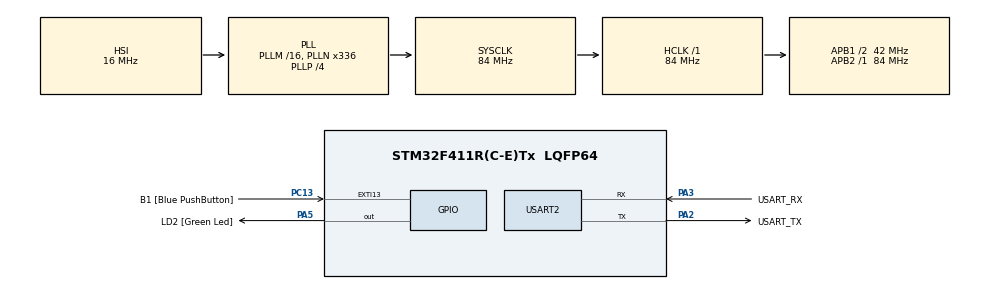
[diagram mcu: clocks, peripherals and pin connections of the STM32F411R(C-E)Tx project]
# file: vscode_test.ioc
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Mcu.Family=STM32F4
PC15-OSC32_OUT.Mode=LSE-External-Oscillator
RCC.CortexFreq_Value=84000000
PC13-ANTI_TAMP.GPIO_Label=B1 [Blue PushButton]
PA14.GPIO_Label=TCK
PH1\ -\ OSC_OUT.Mode=HSE-External-Clock-Source
RCC.APB1CLKDivider=RCC_HCLK_DIV2
PC14-OSC32_IN.Signal=RCC_OSC32_IN
RCC.SYSCLKSource=RCC_SYSCLKSOURCE_PLLCLK
ProjectManager.StackSize=0x400
PA13.Signal=SYS_JTMS-SWDIO
PA3.Mode=Asynchronous
PH0\ -\ OSC_IN.Mode=HSE-External-Clock-Source
PH0\ -\ OSC_IN.Signal=RCC_OSC_IN
ProjectManager.TargetToolchain=Makefile
RCC.HCLKFreq_Value=84000000
RCC.APB2TimFreq_Value=84000000
PC15-OSC32_OUT.Signal=RCC_OSC32_OUT
RCC.AHBFreq_Value=84000000
PA5.Signal=GPIO_Output
RCC.HSE_VALUE=8000000
PH1\ -\ OSC_OUT.Signal=RCC_OSC_OUT
board=NUCLEO-F411RE
PC13-ANTI_TAMP.Signal=GPXTI13
RCC.VCOOutputFreq_Value=336000000
RCC.APB2Freq_Value=84000000
PC14-OSC32_IN.Mode=LSE-External-Oscillator
PA14.Mode=Serial_Wire
PA13.Mode=Serial_Wire
Mcu.Name=STM32F411R(C-E)Tx
PA2.Signal=USART2_TX
PA13.GPIO_Label=TMS
RCC.FLatency-AdvancedSettings=FLASH_LATENCY_2
RCC.48MHZClocksFreq_Value=84000000
PB3.Signal=SYS_JTDO-SWO
RCC.SYSCLKFreq_VALUE=84000000
Mcu.Package=LQFP64
PA5.GPIO_Label=LD2 [Green Led]
USART2.VirtualMode=VM_ASYNC
PC13-ANTI_TAMP.GPIO_ModeDefaultEXTI=GPIO_MODE_IT_FALLING
PA2.GPIO_Label=USART_TX
PA14.Signal=SYS_JTCK-SWCLK
ProjectManager.HeapSize=0x200
RCC.HSI_VALUE=16000000
RCC.PLLP=RCC_PLLP_DIV4
NVIC.PriorityGroup=NVIC_PRIORITYGROUP_0
RCC.PLLN=336
RCC.APB1TimFreq_Value=84000000
PA2.Mode=Asynchronous
RCC.APB1Freq_Value=42000000
PA3.GPIO_Label=USART_RX
PA3.Signal=USART2_RX
PB3.GPIO_Label=SWO

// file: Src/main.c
/* USER CODE BEGIN Header */
/**
  ******************************************************************************
  * @file           : main.c
  * @brief          : Main program body
  ******************************************************************************
  * @attention
  *
  * <h2><center>&copy; Copyright (c) 2021 STMicroelectronics.
  * All rights reserved.</center></h2>
  *
  * This software component is licensed by ST under BSD 3-Clause license,
  * the "License"; You may not use this file except in compliance with the
  * License. You may obtain a copy of the License at:
  *                        opensource.org/licenses/BSD-3-Clause
  *
  ******************************************************************************
  */
/* USER CODE END Header */
#include "main.h"

/* USER CODE BEGIN Includes */
#include <stdio.h>
#include <stdlib.h>
#include <string.h>
#include <stdint.h>
#include <stdbool.h>

/* USER CODE END Includes */

/* USER CODE BEGIN PD */
#define DEFAULT_TIMEOUT (100)
/* USER CODE END PD */

/* USER CODE BEGIN PM */
#define nullStr(str, size) memset(str, '\0', size)
/* USER CODE END PM */

UART_HandleTypeDef huart2;

void SystemClock_Config(void);
static void MX_GPIO_Init(void);
static void MX_USART2_UART_Init(void);

int main(void)
{

  /* USER CODE BEGIN 1 */
  const uint8_t buf_size = 10;
  char buf[buf_size];
  nullStr(buf, buf_size);

  /* USER CODE END 1 */

  /* MCU Configuration--------------------------------------------------------*/

  /* Reset of all peripherals, Initializes the Flash interface and the Systick. */
  HAL_Init();

  /* Configure the system clock */
  SystemClock_Config();

  /* Initialize all configured peripherals */
  MX_GPIO_Init();
  MX_USART2_UART_Init();

  /* Infinite loop */
  /* USER CODE BEGIN WHILE */
  while (1)
  {
    uint8_t read = HAL_GPIO_ReadPin(B1_GPIO_Port, B1_Pin);
    snprintf(buf, buf_size, "%u\r\n", read);
    HAL_UART_Transmit(&huart2, (uint8_t *)buf, buf_size, DEFAULT_TIMEOUT);
    HAL_GPIO_TogglePin(LD2_GPIO_Port, LD2_Pin);
    HAL_Delay(500);
    /* USER CODE END WHILE */

  }
}

void SystemClock_Config(void)
{
  RCC_OscInitTypeDef RCC_OscInitStruct = {0};
  RCC_ClkInitTypeDef RCC_ClkInitStruct = {0};

  /** Configure the main internal regulator output voltage
  */
  __HAL_RCC_PWR_CLK_ENABLE();
  __HAL_PWR_VOLTAGESCALING_CONFIG(PWR_REGULATOR_VOLTAGE_SCALE1);
  /** Initializes the RCC Oscillators according to the specified parameters
  * in the RCC_OscInitTypeDef structure.
  */
  RCC_OscInitStruct.OscillatorType = RCC_OSCILLATORTYPE_HSI;
  RCC_OscInitStruct.HSIState = RCC_HSI_ON;
  RCC_OscInitStruct.HSICalibrationValue = RCC_HSICALIBRATION_DEFAULT;
  RCC_OscInitStruct.PLL.PLLState = RCC_PLL_ON;
  RCC_OscInitStruct.PLL.PLLSource = RCC_PLLSOURCE_HSI;
  RCC_OscInitStruct.PLL.PLLM = 16;
  RCC_OscInitStruct.PLL.PLLN = 336;
  RCC_OscInitStruct.PLL.PLLP = RCC_PLLP_DIV4;
  RCC_OscInitStruct.PLL.PLLQ = 4;
  if (HAL_RCC_OscConfig(&RCC_OscInitStruct) != HAL_OK)
  {
    Error_Handler();
  }
  /** Initializes the CPU, AHB and APB buses clocks
  */
  RCC_ClkInitStruct.ClockType = RCC_CLOCKTYPE_HCLK | RCC_CLOCKTYPE_SYSCLK | RCC_CLOCKTYPE_PCLK1 | RCC_CLOCKTYPE_PCLK2;
  RCC_ClkInitStruct.SYSCLKSource = RCC_SYSCLKSOURCE_PLLCLK;
  RCC_ClkInitStruct.AHBCLKDivider = RCC_SYSCLK_DIV1;
  RCC_ClkInitStruct.APB1CLKDivider = RCC_HCLK_DIV2;
  RCC_ClkInitStruct.APB2CLKDivider = RCC_HCLK_DIV1;

  if (HAL_RCC_ClockConfig(&RCC_ClkInitStruct, FLASH_LATENCY_2) != HAL_OK)
  {
    Error_Handler();
  }
}

static void MX_USART2_UART_Init(void)
{

  huart2.Instance = USART2;
  huart2.Init.BaudRate = 115200;
  huart2.Init.WordLength = UART_WORDLENGTH_8B;
  huart2.Init.StopBits = UART_STOPBITS_1;
  huart2.Init.Parity = UART_PARITY_NONE;
  huart2.Init.Mode = UART_MODE_TX_RX;
  huart2.Init.HwFlowCtl = UART_HWCONTROL_NONE;
  huart2.Init.OverSampling = UART_OVERSAMPLING_16;
  if (HAL_UART_Init(&huart2) != HAL_OK)
  {
    Error_Handler();
  }
}

static void MX_GPIO_Init(void)
{
  GPIO_InitTypeDef GPIO_InitStruct = {0};

  /* GPIO Ports Clock Enable */
  __HAL_RCC_GPIOC_CLK_ENABLE();
  __HAL_RCC_GPIOH_CLK_ENABLE();
  __HAL_RCC_GPIOA_CLK_ENABLE();
  __HAL_RCC_GPIOB_CLK_ENABLE();

  /*Configure GPIO pin Output Level */
  HAL_GPIO_WritePin(LD2_GPIO_Port, LD2_Pin, GPIO_PIN_RESET);

  /*Configure GPIO pin : B1_Pin */
  GPIO_InitStruct.Pin = B1_Pin;
  GPIO_InitStruct.Mode = GPIO_MODE_IT_FALLING;
  GPIO_InitStruct.Pull = GPIO_NOPULL;
  HAL_GPIO_Init(B1_GPIO_Port, &GPIO_InitStruct);

  /*Configure GPIO pin : LD2_Pin */
  GPIO_InitStruct.Pin = LD2_Pin;
  GPIO_InitStruct.Mode = GPIO_MODE_OUTPUT_PP;
  GPIO_InitStruct.Pull = GPIO_NOPULL;
  GPIO_InitStruct.Speed = GPIO_SPEED_FREQ_LOW;
  HAL_GPIO_Init(LD2_GPIO_Port, &GPIO_InitStruct);
}

void Error_Handler(void)
{
  __disable_irq();
  while (1)
  {
  }
}

/************************ (C) COPYRIGHT STMicroelectronics *****END OF FILE****/
